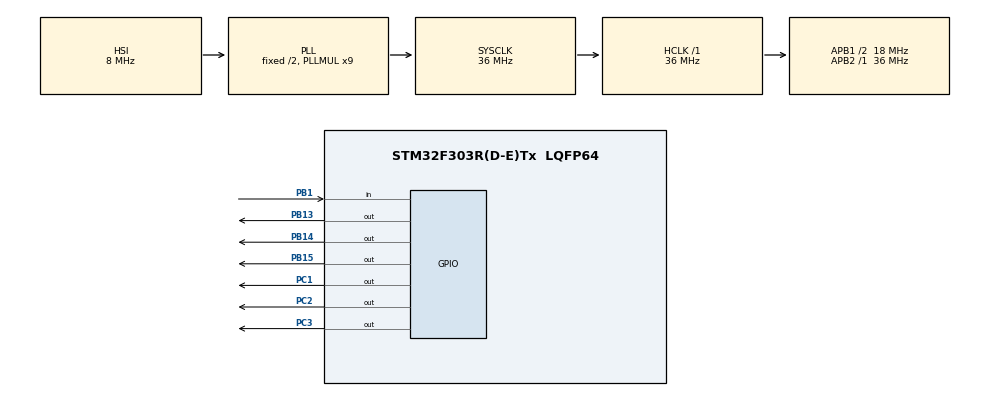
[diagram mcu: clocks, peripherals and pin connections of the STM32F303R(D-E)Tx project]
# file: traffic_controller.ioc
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Mcu.Family=STM32F3
Mcu.Name=STM32F303R(D-E)Tx
Mcu.Package=LQFP64
NVIC.PriorityGroup=NVIC_PRIORITYGROUP_0
NVIC.TIM1_UP_TIM16_IRQn=true\:0\:0\:false\:false\:true\:false\:true\:true
NVIC.TimeBase=TIM1_UP_TIM16_IRQn
NVIC.TimeBaseIP=TIM1
PA13.Mode=Serial_Wire
PA13.Signal=SYS_JTMS-SWDIO
PA14.Mode=Serial_Wire
PA14.Signal=SYS_JTCK-SWCLK
PB1.Signal=GPIO_Input
PB13.Signal=GPIO_Output
PB14.Signal=GPIO_Output
PB15.Signal=GPIO_Output
PC1.Signal=GPIO_Output
PC14-OSC32_IN.Mode=LSE-External-Oscillator
PC14-OSC32_IN.Signal=RCC_OSC32_IN
PC15-OSC32_OUT.Mode=LSE-External-Oscillator
PC15-OSC32_OUT.Signal=RCC_OSC32_OUT
PC2.Signal=GPIO_Output
PC3.Signal=GPIO_Output
PF0-OSC_IN.Mode=HSE-External-Clock-Source
PF0-OSC_IN.Signal=RCC_OSC_IN
ProjectManager.HeapSize=0x200
ProjectManager.StackSize=0x400
ProjectManager.TargetToolchain=CMake
RCC.AHBFreq_Value=36000000
RCC.APB1CLKDivider=RCC_HCLK_DIV2
RCC.APB1Freq_Value=18000000
RCC.APB1TimFreq_Value=36000000
RCC.APB2Freq_Value=36000000
RCC.APB2TimFreq_Value=36000000
RCC.CortexFreq_Value=36000000
RCC.HCLKFreq_Value=36000000
RCC.HSE_VALUE=8000000
RCC.HSI_VALUE=8000000
RCC.PLLM=8
RCC.PLLMUL=RCC_PLL_MUL9
RCC.PLLN=336
RCC.PLLP=RCC_PLLP_DIV4
RCC.PLLQ=7
RCC.RCC_PLLsource_Clock_Source_FROM_HSE=RCC_HSE_PREDIV_DIV2
RCC.SYSCLKFreq_VALUE=36000000
RCC.SYSCLKSourceVirtual=RCC_SYSCLKSOURCE_PLLCLK
RCC.USBFreq_Value=36000000
VP_SYS_VS_tim1.Mode=TIM1
board=NUCLEO-F303RE

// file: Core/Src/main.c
/* USER CODE BEGIN Header */
/**
  ******************************************************************************
  * @file           : main.c
  * @brief          : Main program body
  ******************************************************************************
  * @attention
  *
  * Copyright (c) 2026 STMicroelectronics.
  * All rights reserved.
  *
  * This software is licensed under terms that can be found in the LICENSE file
  * in the root directory of this software component.
  * If no LICENSE file comes with this software, it is provided AS-IS.
  *
  ******************************************************************************
  */
/* USER CODE END Header */
#include "main.h"

/* USER CODE BEGIN Includes */
#include "button.h"
#include "crosssignal.h"
#include "trafficlight.h"
/* USER CODE END Includes */

void SystemClock_Config(void);
static void MX_GPIO_Init(void);
/* USER CODE BEGIN PFP */
static void Button_PressCallback(void);
/* USER CODE END PFP */

/* USER CODE BEGIN 0 */

/**
 * @brief Callback when button is pressed
 * @note Called from interrupt context
 */
static void Button_PressCallback(void) {
  Traffic_RequestCrosswalk(); //request crosswalk
}

/**
 * @brief GPIO EXTI Callback
 * @param GPIO_Pin Pin that triggered interrupt
 */
void HAL_GPIO_EXTI_Callback(uint16_t GPIO_Pin)
{
  // Forward to button handler
  Button_InterruptHandler(GPIO_Pin);
}
/* USER CODE END 0 */

int main(void)
{

  /* MCU Configuration--------------------------------------------------------*/

  /* Reset of all peripherals, Initializes the Flash interface and the Systick. */
  HAL_Init();

  /* Configure the system clock */
  SystemClock_Config();

  /* Initialize all configured peripherals */
  MX_GPIO_Init();
  /* USER CODE BEGIN 2 */
  // Initialize all subsystems
  Traffic_Init();
  Crosswalk_Init();
  Button_Init(Button_PressCallback);
  /* USER CODE END 2 */

  /* Infinite loop */
  while (1)
  {
    /* USER CODE BEGIN WHILE */
    Traffic_Update();
    /* USER CODE END WHILE */
  }

}

void SystemClock_Config(void)
{
  RCC_OscInitTypeDef RCC_OscInitStruct = {0};
  RCC_ClkInitTypeDef RCC_ClkInitStruct = {0};

  /** Initializes the RCC Oscillators according to the specified parameters
  * in the RCC_OscInitTypeDef structure.
  */
  RCC_OscInitStruct.OscillatorType = RCC_OSCILLATORTYPE_HSI;
  RCC_OscInitStruct.HSIState = RCC_HSI_ON;
  RCC_OscInitStruct.HSICalibrationValue = RCC_HSICALIBRATION_DEFAULT;
  RCC_OscInitStruct.PLL.PLLState = RCC_PLL_ON;
  RCC_OscInitStruct.PLL.PLLSource = RCC_PLLSOURCE_HSI;
  RCC_OscInitStruct.PLL.PLLMUL = RCC_PLL_MUL9;
  RCC_OscInitStruct.PLL.PREDIV = RCC_PREDIV_DIV1;
  if (HAL_RCC_OscConfig(&RCC_OscInitStruct) != HAL_OK)
  {
    Error_Handler();
  }

  /** Initializes the CPU, AHB and APB buses clocks
  */
  RCC_ClkInitStruct.ClockType = RCC_CLOCKTYPE_HCLK|RCC_CLOCKTYPE_SYSCLK
                              |RCC_CLOCKTYPE_PCLK1|RCC_CLOCKTYPE_PCLK2;
  RCC_ClkInitStruct.SYSCLKSource = RCC_SYSCLKSOURCE_PLLCLK;
  RCC_ClkInitStruct.AHBCLKDivider = RCC_SYSCLK_DIV1;
  RCC_ClkInitStruct.APB1CLKDivider = RCC_HCLK_DIV2;
  RCC_ClkInitStruct.APB2CLKDivider = RCC_HCLK_DIV1;

  if (HAL_RCC_ClockConfig(&RCC_ClkInitStruct, FLASH_LATENCY_1) != HAL_OK)
  {
    Error_Handler();
  }
}

static void MX_GPIO_Init(void)
{
  GPIO_InitTypeDef GPIO_InitStruct = {0};

  /* GPIO Ports Clock Enable */
  __HAL_RCC_GPIOC_CLK_ENABLE();
  __HAL_RCC_GPIOF_CLK_ENABLE();
  __HAL_RCC_GPIOB_CLK_ENABLE();
  __HAL_RCC_GPIOA_CLK_ENABLE();

  /*Configure GPIO pin Output Level */
  HAL_GPIO_WritePin(GPIOC, GPIO_PIN_1|GPIO_PIN_2|GPIO_PIN_3, GPIO_PIN_RESET);

  /*Configure GPIO pin Output Level */
  HAL_GPIO_WritePin(GPIOB, GPIO_PIN_13|GPIO_PIN_14|GPIO_PIN_15, GPIO_PIN_RESET);

  /*Configure GPIO pins : PC1 PC2 PC3 */
  GPIO_InitStruct.Pin = GPIO_PIN_1|GPIO_PIN_2|GPIO_PIN_3;
  GPIO_InitStruct.Mode = GPIO_MODE_OUTPUT_PP;
  GPIO_InitStruct.Pull = GPIO_NOPULL;
  GPIO_InitStruct.Speed = GPIO_SPEED_FREQ_LOW;
  HAL_GPIO_Init(GPIOC, &GPIO_InitStruct);

  /*Configure GPIO pin : PB1 */
  GPIO_InitStruct.Pin = GPIO_PIN_1;
  GPIO_InitStruct.Mode = GPIO_MODE_IT_RISING;
  GPIO_InitStruct.Pull = GPIO_NOPULL;
  HAL_GPIO_Init(GPIOB, &GPIO_InitStruct);

  /*Configure GPIO pins : PB13 PB14 PB15 */
  GPIO_InitStruct.Pin = GPIO_PIN_13|GPIO_PIN_14|GPIO_PIN_15;
  GPIO_InitStruct.Mode = GPIO_MODE_OUTPUT_PP;
  GPIO_InitStruct.Pull = GPIO_NOPULL;
  GPIO_InitStruct.Speed = GPIO_SPEED_FREQ_LOW;
  HAL_GPIO_Init(GPIOB, &GPIO_InitStruct);

  /* USER CODE BEGIN MX_GPIO_Init_2 */
  HAL_NVIC_SetPriority(EXTI1_IRQn, 2, 0);
  HAL_NVIC_EnableIRQ(EXTI1_IRQn);
  /* USER CODE END MX_GPIO_Init_2 */
}

void HAL_TIM_PeriodElapsedCallback(TIM_HandleTypeDef *htim)
{
  if (htim->Instance == TIM1)
  {
    HAL_IncTick();
  }
}

void Error_Handler(void)
{
  /* USER CODE BEGIN Error_Handler_Debug */
  /* Reset all GPIO */
  HAL_GPIO_WritePin(RGB_GPIO_PORT, RGB_RED_PIN | RGB_GREEN_PIN | RGB_BLUE_PIN, GPIO_PIN_RESET);
  HAL_GPIO_WritePin(LED_GPIO_PORT, LED_RED_PIN | LED_YELLOW_PIN | LED_GREEN_PIN, GPIO_PIN_RESET);

  /* User can add his own implementation to report the HAL error return state */
  __disable_irq();
  while (1)
  {
    /* Write Both lights to blink red */
    HAL_GPIO_TogglePin(RGB_GPIO_PORT, RGB_RED_PIN);
    HAL_GPIO_TogglePin(LED_GPIO_PORT, LED_RED_PIN);

    for (volatile uint32_t i = 0; i < 1000000; i++) {
      __NOP();
    }
  }
  /* USER CODE END Error_Handler_Debug */
}
